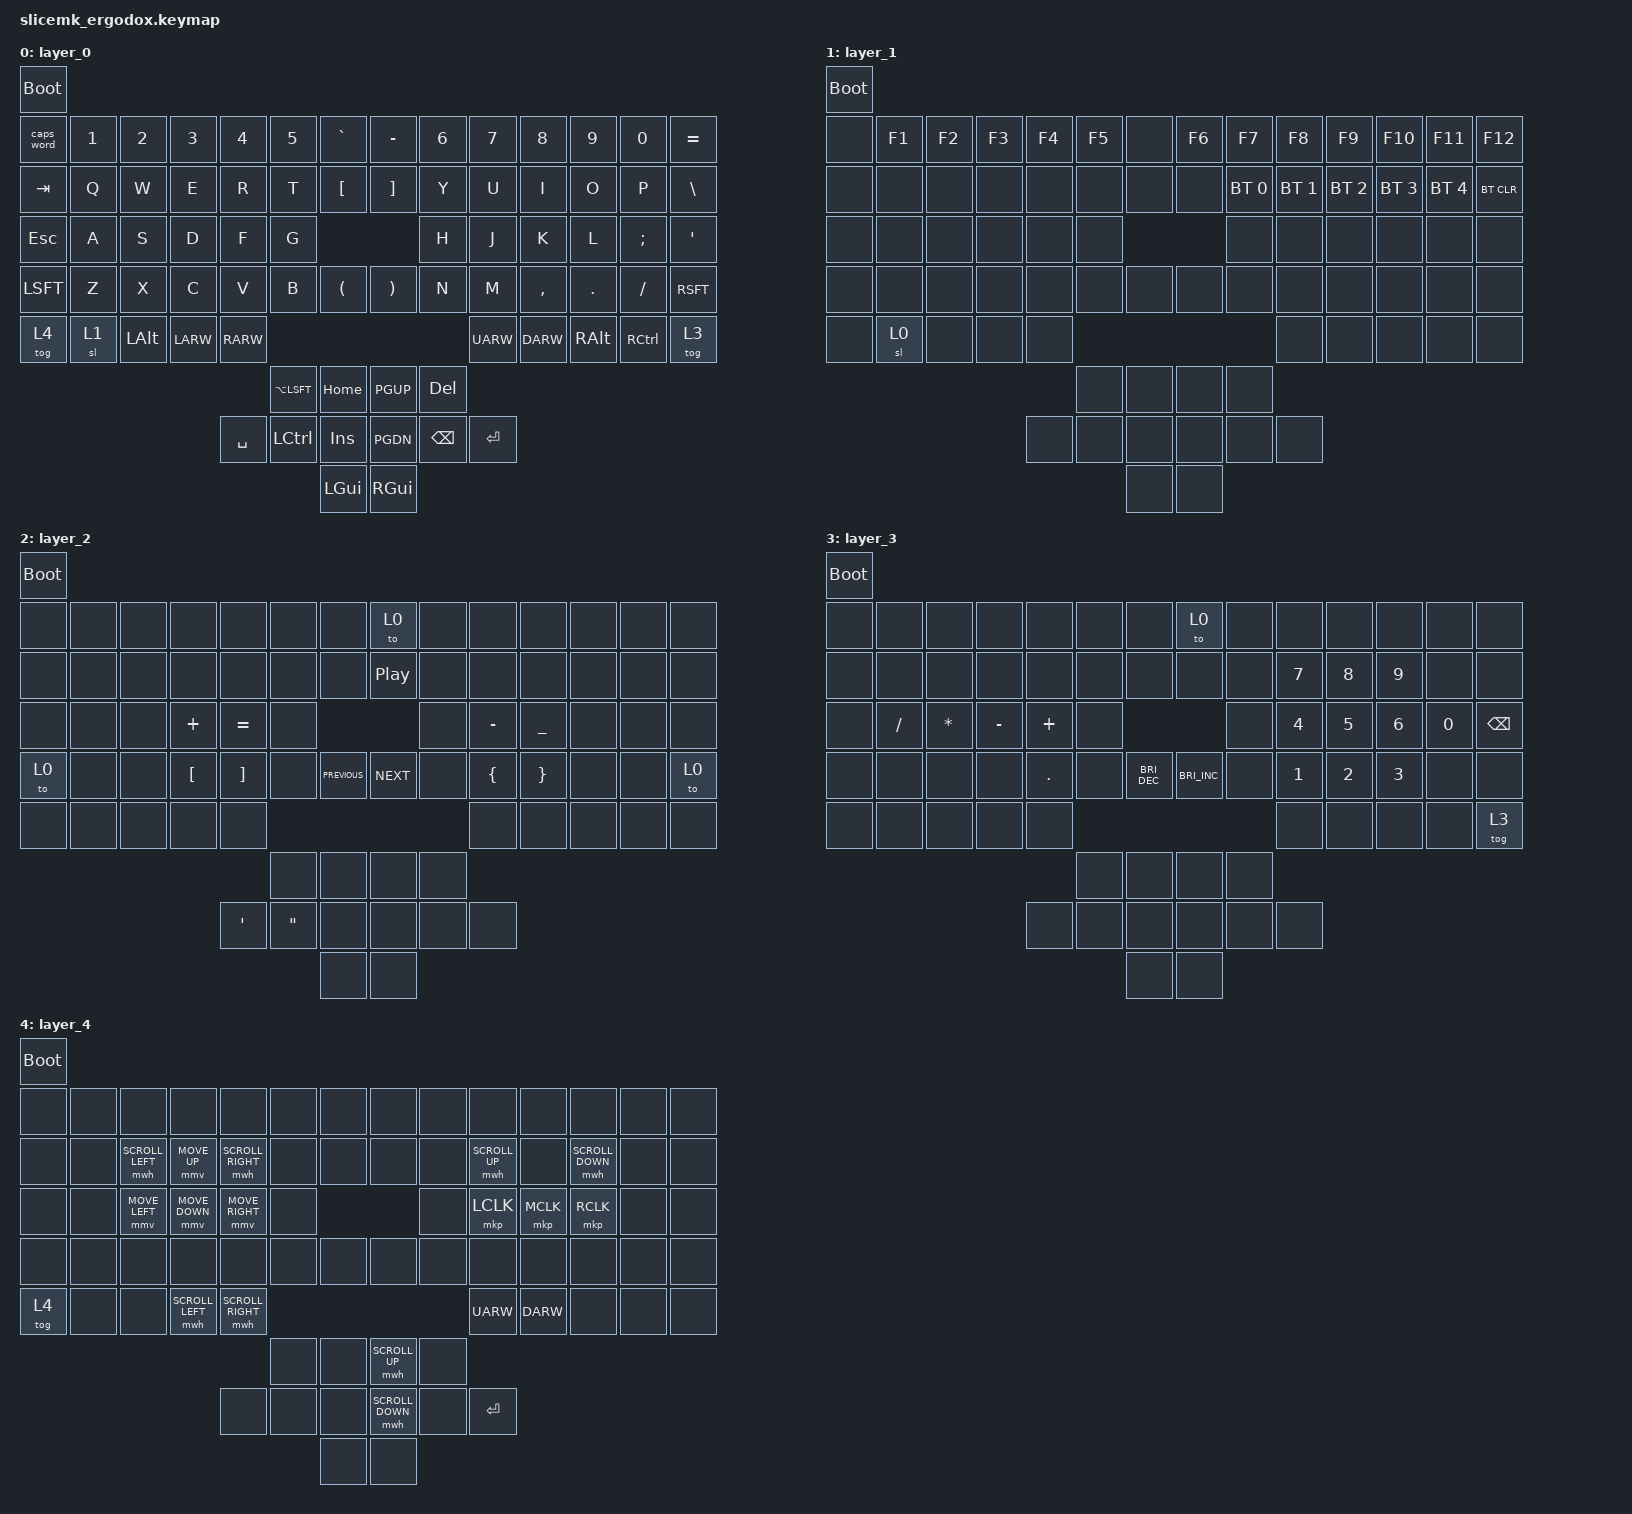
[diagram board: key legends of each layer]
#include <behaviors.dtsi>
#include <dt-bindings/zmk/bt.h>
#include <dt-bindings/zmk/keys.h>
#include <dt-bindings/zmk/outputs.h>
#include <dt-bindings/zmk/mouse.h>

&mmv {
    time-to-max-speed-ms = <500>;
};

&mwh {
    acceleration-exponent=<1>;
};


/ {
	keymap {
		compatible = "zmk,keymap";
		layer_0 {
			bindings = <
				&bootloader
				&caps_word &kp NUMBER_1 &kp NUMBER_2 &kp NUMBER_3 &kp NUMBER_4 &kp NUMBER_5 &kp GRAV &kp MINUS &kp NUMBER_6 &kp NUMBER_7 &kp NUMBER_8 &kp NUMBER_9 &kp NUMBER_0  &kp EQUAL
				&kp TAB    &kp Q        &kp W        &kp E        &kp R        &kp T        &kp LBKT &kp RBKT  &kp Y        &kp U        &kp I        &kp O        &kp P         &kp BSLH
				&kp ESC    &kp A        &kp S        &kp D        &kp F        &kp G                           &kp H        &kp J        &kp K        &kp L        &kp SEMICOLON &kp SQT
				&kp LSFT   &kp Z        &kp X        &kp C        &kp V        &kp B        &kp LPAR &kp RPAR  &kp N        &kp M        &kp CMMA     &kp DOT      &kp FSLH      &kp RSFT
				&tog 4     &sl 1        &kp LALT     &kp LARW     &kp RARW                                                  &kp UARW     &kp DARW     &kp RALT     &kp RCTL      &tog 3
				                                                               &kp LA(LSFT) &kp HOME &kp PGUP  &kp DEL
				                                                  &kp SPC      &kp LCTL     &kp INS  &kp PGDN  &kp BKSP     &kp ENTER
				                                                                            &kp LGUI &kp RGUI
			>;
		};
		layer_1 {
			bindings = <
				&bootloader
				&none &kp F1 &kp F2 &kp F3 &kp F4 &kp F5 &none &kp F6 &kp F7       &kp F8       &kp F9       &kp F10      &kp F11      &kp F12
				&none &none  &none  &none  &none  &none  &none &none  &bt BT_SEL 0 &bt BT_SEL 1 &bt BT_SEL 2 &bt BT_SEL 3 &bt BT_SEL 4 &bt BT_CLR
				&none &none  &none  &none  &none  &none               &none        &none        &none        &none        &none        &none
				&none &none  &none  &none  &none  &none  &none &none  &none        &none        &none        &none        &none        &none
				&none &sl 0  &none  &none  &none                                   &none        &none        &none        &none        &none
				                                  &none  &none &none  &none
				                           &none  &none  &none &none  &none        &none
				                                         &none &none
			>;
		};
		layer_2 {
			bindings = <
				&bootloader
				&none &none &none &none    &none            &none             &none          &to 0            &none &none          &none           &none &none &none
				&none &none &none &none    &none            &none             &none          &kp C_PLAY_PAUSE &none &none          &none           &none &none &none
				&none &none &none &kp PLUS &kp EQUAL        &none                                             &none &kp MINUS      &kp UNDERSCORE  &none &none &none
				&to 0 &none &none &kp LBKT &kp RBKT         &none             &kp C_PREVIOUS &kp C_NEXT       &none &kp LEFT_BRACE &kp RIGHT_BRACE &none &none &to 0
				&none &none &none &none    &none                                                                    &none          &none           &none &none &none
				                                            &none             &none          &none            &none
				                           &kp SINGLE_QUOTE &kp DOUBLE_QUOTES &none          &none            &none &none
				                                                              &none          &none
			>;
		};
		layer_3 {
			bindings = <
				&bootloader
				&none &none     &none        &none     &none    &none &none                &to 0                &none &none        &none        &none        &none        &none
				&none &none     &none        &none     &none    &none &none                &none                &none &kp NUMBER_7 &kp NUMBER_8 &kp NUMBER_9 &none        &none
				&none &kp SLASH &kp ASTERISK &kp MINUS &kp PLUS &none                                           &none &kp NUMBER_4 &kp NUMBER_5 &kp NUMBER_6 &kp NUMBER_0 &kp BACKSPACE
				&none &none     &none        &none     &kp DOT  &none &kp C_BRIGHTNESS_DEC &kp C_BRIGHTNESS_INC &none &kp NUMBER_1 &kp NUMBER_2 &kp NUMBER_3 &none        &none
				&none &none     &none        &none     &none                                                          &none        &none        &none        &none        &tog 3
				                                                &none &none                &none                &none
				                                       &none    &none &none                &none                &none &none
				                                                      &none                &none
			>;
		};
  		layer_4 {
  			bindings = <
			        &bootloader
 				&none  &none &none            &none            &none             &none &none        &none            &none &none              &none         &none     &none  &none
 				&none  &none &mwh SCROLL_LEFT &mmv MOVE_UP     &mwh SCROLL_RIGHT &none &none        &none            &none &mwh SCROLL_UP     &none         &mwh SCROLL_DOWN &none &none
 				&none  &none &mmv MOVE_LEFT   &mmv MOVE_DOWN   &mmv MOVE_RIGHT   &none                               &none &mkp LCLK          &mkp MCLK     &mkp RCLK &none  &none
 				&none  &none &none            &none            &none             &none &none        &none            &none &none              &none         &none     &none  &none
 				&tog 4 &none &none            &mwh SCROLL_LEFT &mwh SCROLL_RIGHT                                           &kp UARW           &kp DARW      &none     &none  &none
 				                                                                 &none &none        &mwh SCROLL_UP   &none
 				                                               &none             &none &none        &mwh SCROLL_DOWN &none &kp ENTER
 				                                                                       &none        &none
			>;
  		};
	};

};
